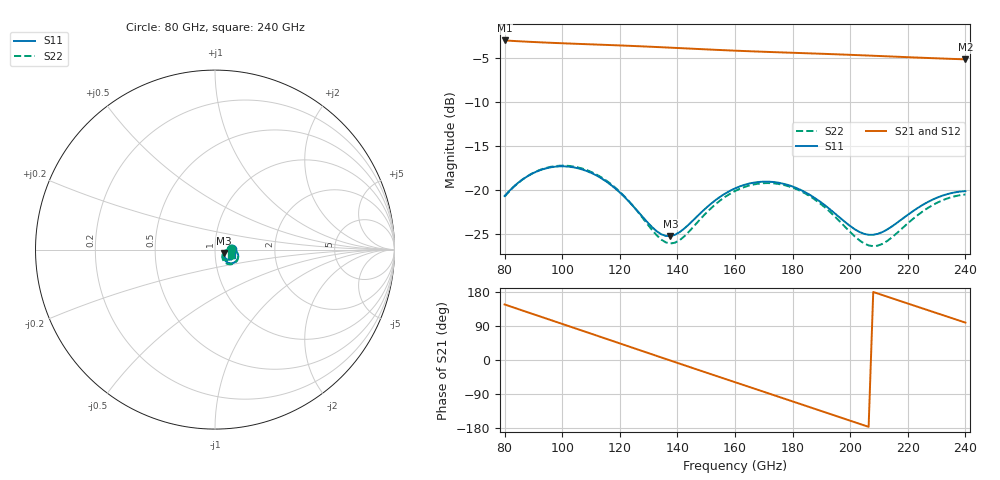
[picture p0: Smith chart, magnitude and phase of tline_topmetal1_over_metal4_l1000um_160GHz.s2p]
#  GHZ S DB R 50
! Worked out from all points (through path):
!   101 points, 80 GHz to 240 GHz, reference 50 ohm
!   highest |S21| = -3.05 dB at 80 GHz (marker M1); lowest = -5.2 dB at 240 GHz (marker M2)
!   group delay of S21, straight-line fit = 7.08 ps
!   lowest |S11| = -25.2 dB at 137.6 GHz (marker M3), VSWR 1.12, Z = 55.3 - j2.22 ohm
!   |S11| at or under -10 dB: start of sweep to end of sweep
!   |S22| runs from -26.3 to -17.2 dB; largest |S21 - S12| = 8e-14
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80  -20.67 1.7  -3.05 146.6  -3.05 146.6  -20.74 0.7
88  -18.42 -4.9  -3.19 126.0  -3.19 126.0  -18.40 -6.3
94.4  -17.53 -13.5  -3.29 109.6  -3.29 109.6  -17.48 -15.2
100.8  -17.31 -23.0  -3.38 93.2  -3.38 93.2  -17.23 -25.2
107.2  -17.69 -32.4  -3.46 76.8  -3.46 76.8  -17.58 -35.1
113.6  -18.66 -40.7  -3.54 60.3  -3.54 60.3  -18.55 -44.1
121.6  -20.77 -47.0  -3.64 39.7  -3.64 39.7  -20.70 -51.8
128  -23.06 -44.9  -3.72 23.2  -3.72 23.2  -23.18 -51.3
134.4  -25.00 -31.4  -3.82 6.7  -3.82 6.7  -25.60 -38.2
137.6  -25.21 -21.4  -3.87 -1.5  -3.87 -1.5  -26.05 -26.8
142.4  -24.35 -8.6  -3.94 -13.8  -3.94 -13.8  -25.23 -11.3
148.8  -22.37 -1.8  -4.04 -30.1  -4.04 -30.1  -22.99 -2.7
160  -19.81 -7.5  -4.21 -58.6  -4.21 -58.6  -20.11 -8.6
172.8  -19.07 -22.8  -4.37 -91.0  -4.37 -91.0  -19.22 -25.1
179.2  -19.50 -30.5  -4.44 -107.2  -4.44 -107.2  -19.63 -33.6
187.2  -20.78 -37.8  -4.53 -127.6  -4.53 -127.6  -20.95 -42.3
196.8  -23.23 -38.4  -4.64 -152.0  -4.64 -152.0  -23.68 -44.9
204.8  -24.95 -26.4  -4.74 -172.4  -4.74 -172.4  -26.03 -32.5
209.6  -24.95 -15.8  -4.81 175.4  -4.81 175.4  -26.29 -19.1
214.4  -24.13 -7.7  -4.87 163.3  -4.87 163.3  -25.38 -8.2
227.2  -21.31 -5.7  -5.04 130.9  -5.04 130.9  -21.97 -4.3
240  -20.12 -17.6  -5.19 98.7  -5.19 98.7  -20.50 -16.9
